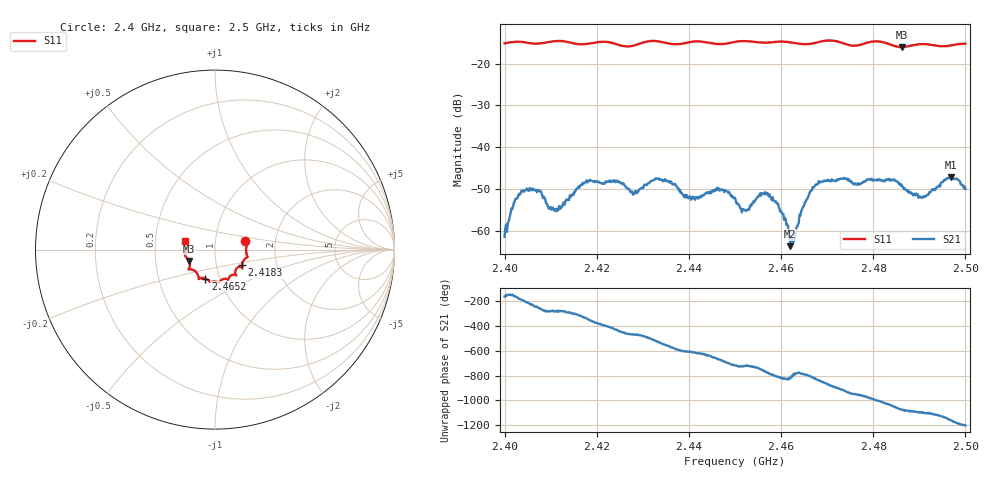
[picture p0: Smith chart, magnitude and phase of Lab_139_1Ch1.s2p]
# Hz S RI R 50
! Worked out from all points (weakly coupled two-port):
!   601 points, 2.4 GHz to 2.5 GHz, reference 50 ohm
!   highest |S21| = -47.03 dB at 2.4968 GHz (marker M1); lowest = -63.6 dB at 2.462 GHz (marker M2)
!   lowest |S11| = -16.1 dB at 2.4862 GHz (marker M3), VSWR 1.37, Z = 37.2 - j4.86 ohm
!   |S11| at or under -10 dB: start of sweep to end of sweep
!   S12 and S22 are empty: the file has one direction only
!   S11 on the Smith chart (normalised r, x): 2.4 GHz: 1.40, +0.13; 2.4183 GHz: 1.33, -0.24; 2.4652 GHz: 0.85, -0.28; 2.5 GHz: 0.71, +0.07
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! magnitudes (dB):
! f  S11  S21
! 2.4 GHz  -15.2  -61.3
! 2.402 GHz  -14.8  -53.2
! 2.4042 GHz  -14.9  -50.6
! 2.4112 GHz  -14.6  -55.3
! 2.4167 GHz  -15.4  -48.9
! 2.4183 GHz  -15.2  -48.0
! 2.4282 GHz  -15.7  -51.0
! 2.4333 GHz  -14.7  -47.5
! 2.4402 GHz  -14.9  -51.7
! 2.4465 GHz  -15.4  -49.8
! 2.45 GHz  -14.8  -52.0
! 2.4525 GHz  -14.7  -55.1
! 2.457 GHz  -15.0  -50.9
! 2.462 GHz  -14.9  -63.6
! 2.4625 GHz  -15.0  -61.9
! 2.4652 GHz  -15.4  -53.1
! 2.4667 GHz  -15.3  -50.3
! 2.4833 GHz  -15.3  -47.7
! 2.4862 GHz  -16.1  -48.9
! 2.4908 GHz  -15.4  -51.8
! 2.4968 GHz  -15.7  -47.0
! 2.5 GHz  -15.3  -49.9
